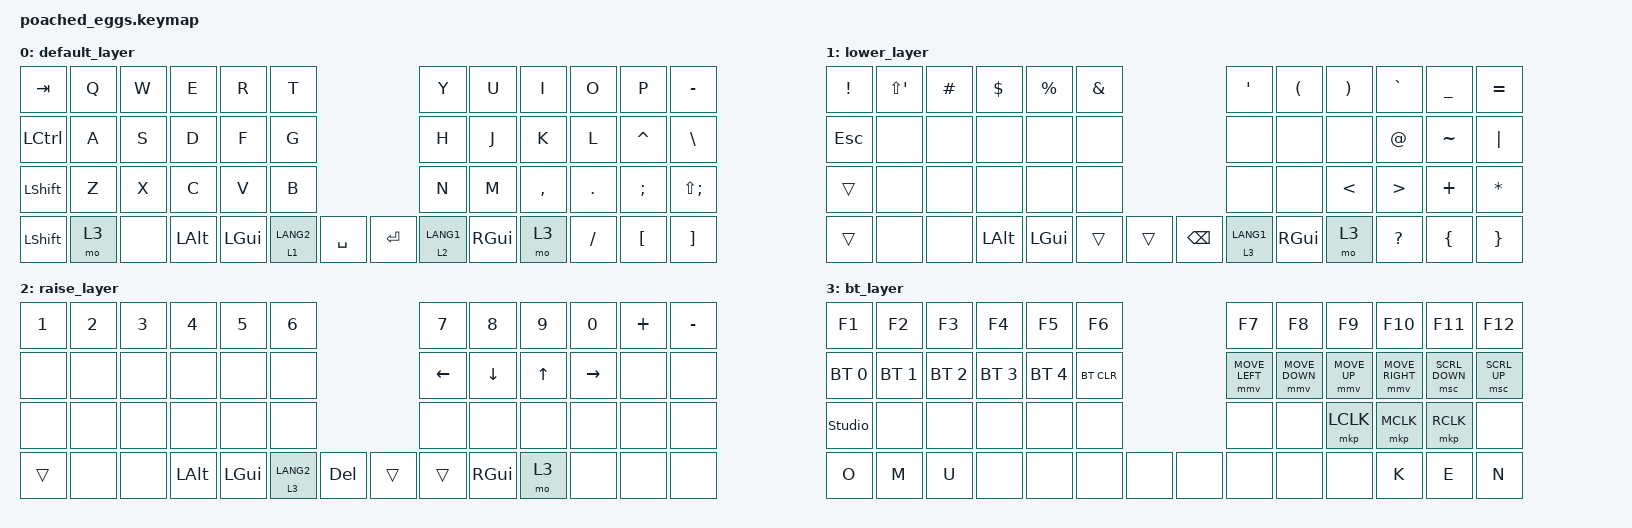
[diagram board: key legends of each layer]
#include <behaviors.dtsi>
#include <dt-bindings/zmk/bt.h>
#include <dt-bindings/zmk/keys.h>
#include <dt-bindings/zmk/pointing.h>

/ {
    keymap {
        compatible = "zmk,keymap";

        default_layer {
            bindings = <
&kp TAB    &kp Q  &kp W  &kp E     &kp R     &kp T                              &kp Y  &kp U         &kp I      &kp O    &kp P          &kp MINUS
&kp LCTRL  &kp A  &kp S  &kp D     &kp F     &kp G                              &kp H  &kp J         &kp K      &kp L    &kp CARET      &kp BSLH
&kp LSHFT  &kp Z  &kp X  &kp C     &kp V     &kp B                              &kp N  &kp M         &kp COMMA  &kp DOT  &kp SEMI       &kp LS(SEMI)
&kp LSHFT  &mo 3  &none  &kp LALT  &kp LGUI  &lt 1 LANG2  &kp SPACE  &kp RET  &lt 2 LANG1  &kp RGUI  &mo 3   &kp FSLH  &kp LBKT       &kp RBKT
            >;
        };

        lower_layer {
            bindings = <
&kp EXCL   &kp LS(SQT)  &kp HASH  &kp DOLLAR  &kp PRCNT  &kp AMPS                         &kp SQT      &kp LPAR   &kp RPAR  &kp GRAVE     &kp UNDER     &kp EQUAL
&kp ESC    &none        &none     &none       &none      &none                            &none        &none      &none     &kp AT        &kp TILDE     &kp PIPE
&trans     &none        &none     &none       &none      &none                            &none        &none      &kp LT    &kp GT        &kp PLUS      &kp ASTRK
&trans     &none        &none     &kp LALT    &kp LGUI   &trans       &trans   &kp BSPC  &lt 3 LANG1  &kp RGUI   &mo 3     &kp QMARK     &kp LBRC      &kp RBRC
            >;
        };

        raise_layer {
            bindings = <
&kp N1  &kp N2  &kp N3  &kp N4    &kp N5    &kp N6                           &kp N7     &kp N8     &kp N9    &kp N0     &kp PLUS      &kp MINUS
&none   &none   &none   &none     &none     &none                            &kp LEFT   &kp DOWN   &kp UP    &kp RIGHT  &none         &none
&none   &none   &none   &none     &none     &none                            &none      &none      &none     &none      &none         &none
&trans  &none   &none   &kp LALT  &kp LGUI  &lt 3 LANG2  &kp DEL   &trans  &trans     &kp RGUI   &mo 3     &none      &none         &none
            >;
        };

        bt_layer {
            bindings = <
&kp F1          &kp F2        &kp F3        &kp F4        &kp F5        &kp F6                      &kp F7         &kp F8         &kp F9       &kp F10    &kp F11    &kp F12
&bt BT_SEL 0    &bt BT_SEL 1  &bt BT_SEL 2  &bt BT_SEL 3  &bt BT_SEL 4  &bt BT_CLR                  &mmv MOVE_LEFT &mmv MOVE_DOWN &mmv MOVE_UP &mmv MOVE_RIGHT  &msc SCRL_DOWN  &msc SCRL_UP
&studio_unlock  &none         &none         &none         &none         &none                       &none          &none          &mkp LCLK    &mkp MCLK  &mkp RCLK  &none
&kp O           &kp M         &kp U         &none         &none         &none       &none    &none   &none          &none          &none        &kp K      &kp E      &kp N
            >;
        };
    };
};
